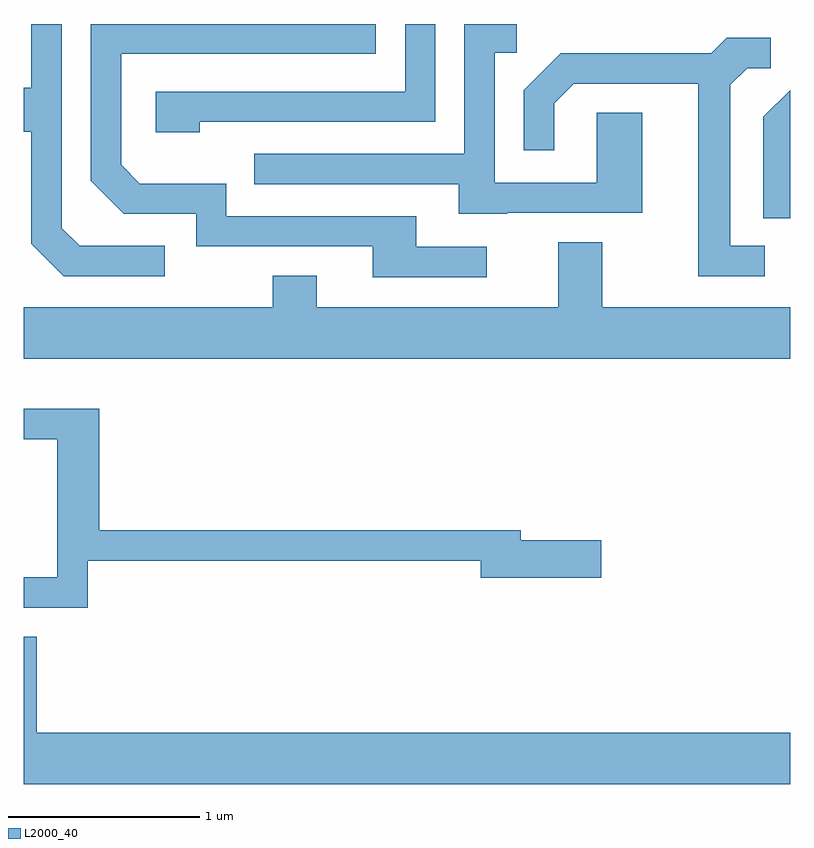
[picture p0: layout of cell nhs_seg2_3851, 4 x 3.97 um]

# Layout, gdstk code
import gdstk
lib = gdstk.Library(unit=1e-6, precision=1e-09)
def P(c, l, *ps):  # polygons
    for p in ps: c.add(gdstk.Polygon(p, *l))
L2000_40 = (2000, 40)

nhs_seg2_3851 = lib.new_cell('nhs_seg2_3851')
P(nhs_seg2_3851, L2000_40, [(300.028,1086.639),(299.659,1086.639),(299.659,1086.799),(298.669,1086.799),(298.669,1086.969),(298.217,1086.969),(298.119,1087.067),(298.119,1087.646),(299.449,1087.646),(299.449,1087.802),(297.961,1087.802),(297.961,1086.984),(298.134,1086.811),(298.511,1086.811),(298.511,1086.641),(299.431,1086.641),(299.431,1086.481),(300.028,1086.481)],
  [(298.529,1087.291),(299.759,1087.291),(299.759,1087.802),(299.601,1087.802),(299.601,1087.449),(298.301,1087.449),(298.301,1087.236),(298.529,1087.236)],
  [(300.958,1087.802),(300.418,1087.802),(300.419,1087.801),(300.957,1087.801)],
  [(298.348,1086.644),(297.902,1086.644),(297.809,1086.737),(297.809,1087.802),(297.651,1087.802),(297.651,1087.469),(297.611,1087.469),(297.611,1087.241),(297.651,1087.241),(297.651,1086.654),(297.819,1086.486),(298.348,1086.486)],
  [(300.135,1086.816),(300.839,1086.816),(300.839,1087.339),(300.601,1087.339),(300.601,1086.974),(300.069,1086.974),(300.069,1087.651),(300.183,1087.651),(300.183,1087.802),(299.911,1087.802),(299.911,1087.124),(298.813,1087.124),(298.813,1086.966),(299.881,1086.966),(299.881,1086.811),(300.135,1086.811)],
  [(301.478,1086.644),(301.299,1086.644),(301.299,1087.484),(301.387,1087.571),(301.508,1087.571),(301.508,1087.729),(301.279,1087.729),(301.199,1087.649),(300.414,1087.649),(300.221,1087.457),(300.221,1087.143),(300.379,1087.143),(300.379,1087.389),(300.482,1087.491),(301.131,1087.491),(301.131,1086.486),(301.478,1086.486)],
  [(301.611,1087.457),(301.471,1087.317),(301.471,1086.788),(301.611,1086.788)],
  [(301.611,1086.324),(300.629,1086.324),(300.629,1086.664),(300.401,1086.664),(300.401,1086.324),(299.139,1086.324),(299.139,1086.489),(298.911,1086.489),(298.911,1086.324),(297.611,1086.324),(297.611,1086.056),(301.611,1086.056)],
  [(297.944,1085.001),(299.996,1085.001),(299.996,1084.911),(300.624,1084.911),(300.624,1085.109),(300.204,1085.109),(300.204,1085.159),(298.004,1085.159),(298.004,1085.794),(297.611,1085.794),(297.611,1085.636),(297.786,1085.636),(297.786,1084.914),(297.611,1084.914),(297.611,1084.756),(297.944,1084.756)],
  [(301.611,1084.104),(297.679,1084.104),(297.679,1084.604),(297.611,1084.604),(297.611,1083.836),(301.611,1083.836)])

lib.write_gds('nhs_seg2_3851.gds')
